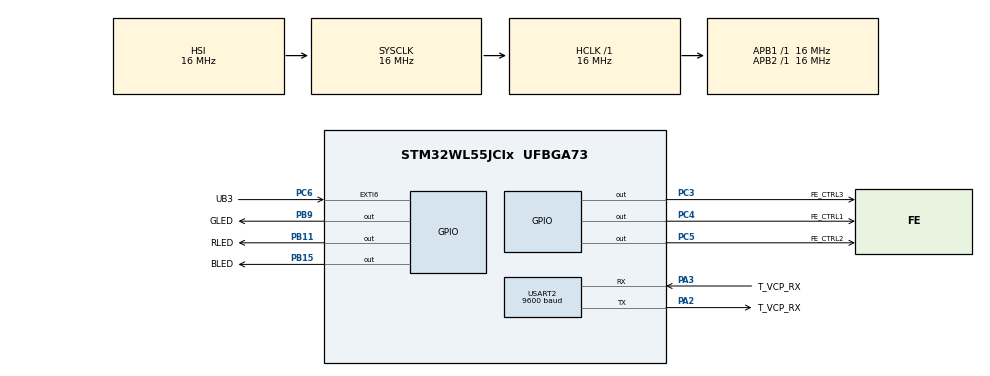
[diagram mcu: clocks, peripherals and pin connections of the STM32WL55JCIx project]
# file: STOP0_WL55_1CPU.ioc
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Mcu.Family=STM32WL
Mcu.Name=STM32WL55JCIx
Mcu.Package=UFBGA73
NVIC.PriorityGroup=NVIC_PRIORITYGROUP_4
PA2.GPIO_Label=T_VCP_RX
PA2.Mode=Asynchronous
PA2.Signal=USART2_TX
PA3.GPIO_Label=T_VCP_RX
PA3.Mode=Asynchronous
PA3.Signal=USART2_RX
PB11.GPIO_Label=RLED
PB11.Signal=GPIO_Output
PB15.GPIO_Label=BLED
PB15.Signal=GPIO_Output
PB9.GPIO_Label=GLED
PB9.Signal=GPIO_Output
PC14-OSC32_IN.GPIO_Label=RCC_OSC32_IN
PC14-OSC32_IN.Signal=RCC_OSC32_IN
PC15-OSC32_OUT.GPIO_Label=RCC_OSC32_OUT
PC15-OSC32_OUT.Signal=RCC_OSC32_OUT
PC3.GPIO_Label=FE_CTRL3
PC3.GPIO_Speed=GPIO_SPEED_FREQ_VERY_HIGH
PC3.Signal=GPIO_Output
PC4.GPIO_Label=FE_CTRL1
PC4.GPIO_Speed=GPIO_SPEED_FREQ_VERY_HIGH
PC4.Signal=GPIO_Output
PC5.GPIO_Label=FE_CTRL2
PC5.GPIO_Speed=GPIO_SPEED_FREQ_VERY_HIGH
PC5.Signal=GPIO_Output
PC6.GPIO_Label=UB3
PC6.GPIO_ModeDefaultEXTI=GPIO_MODE_EVT_FALLING
PC6.GPIO_PuPd=GPIO_PULLUP
PC6.Signal=GPXTI6
ProjectManager.HeapSize=0x200
ProjectManager.StackSize=0x400
ProjectManager.TargetToolchain=STM32CubeIDE
RCC.AHBFreq_Value=16000000
RCC.APB1Freq_Value=16000000
RCC.APB1TimFreq_Value=16000000
RCC.APB2Freq_Value=16000000
RCC.APB2TimFreq_Value=16000000
RCC.APB3Freq_Value=16000000
RCC.CortexFreq_Value=16000000
RCC.HCLKFreq_Value=16000000
RCC.HSE_VALUE=32000000
RCC.HSI_VALUE=16000000
RCC.LSE_VALUE=32768
RCC.PLLN=24
RCC.SYSCLKFreq_VALUE=16000000
RCC.SYSCLKSource=RCC_SYSCLKSOURCE_HSI
RCC.VCOOutputFreq_Value=96000000
USART2.BaudRate=9600
USART2.VirtualMode-Asynchronous=VM_ASYNC
board=NUCLEO-WL55JC1

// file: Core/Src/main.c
/* USER CODE BEGIN Header */
/**
  ******************************************************************************
  * @file           : main.c
  * @brief          : Main program body
  ******************************************************************************
  * @attention
  *
  * Copyright (c) 2025 STMicroelectronics.
  * All rights reserved.
  *
  * This software is licensed under terms that can be found in the LICENSE file
  * in the root directory of this software component.
  * If no LICENSE file comes with this software, it is provided AS-IS.
  *
  ******************************************************************************
  */
/* USER CODE END Header */
#include "main.h"

/* USER CODE BEGIN Includes */
#include <stdio.h>
/* USER CODE END Includes */

UART_HandleTypeDef huart2;

void SystemClock_Config(void);
static void MX_GPIO_Init(void);
static void MX_USART2_UART_Init(void);

/* USER CODE BEGIN 0 */
/** @brief Redirect the output of printf to USART2
  * @retval int
  */
int __io_putchar(int ch){
	HAL_UART_Transmit(&huart2, &ch, 1, 1000);
}

/** @brief Simple software delay (blocking)
  * @param ms: approximate milliseconds to delay (not precise, depends on CPU speed)
  * @retval None
  */
void delay(uint32_t ms)
{
  uint32_t freq = HAL_RCC_GetHCLKFreq();
  uint32_t count = (freq / 4000) * ms; // 4 cycles per loop (approx.)
  while(count--) {
      __NOP();
  }
}

/** @brief Makes the CPU go into STOP0 mode,
  * according to the datasheet guidance.
  * We are waiting on Event
  * @retval None
  */
void Enter_STOP0Mode_OnWFE(void){

    /* All EXTI line pending bits (in EXTI pending register
	 * (EXTI_PR1), and EXTI pending register (EXTI_PR2)),
	 * and the peripheral flags generating wake-up interrupts must be cleared.
	 * Otherwise, the Stop 0 mode entry procedure is ignored and program execution continues.
	 * These bits are cleared when writing '1' to them.
	 */
	// EXTI_PR1 - 19 bits: 22, 21, 16 to 0.
	EXTI -> PR1 |= (3 << 21); // bits 22 & 21
	EXTI -> PR1 |= (1 << 16); // bit 16
	EXTI -> PR1 |= (0xFFFF << 0); // bits 15 to 0
	// EXTI_PR2 - 4 bits: 13, 9, 8, 2.
	EXTI -> PR2 |= (1 << 13); // bit 13
	EXTI -> PR2 |= (3 << 8); // bits 9 & 8
	EXTI -> PR2 |= (1 << 2); // bit 2

	// Wait a bit before entering STOP0 mode
	HAL_Delay(1000);

	// Suspend the tick to prevent the SysTick interrupt every 1 ms
	HAL_SuspendTick();

	// Enter the STOP0 mode, waiting for an event
	HAL_PWREx_EnterSTOP0Mode(PWR_SLEEPENTRY_WFE);
	/* ####----####----####----####
	 * MCU is asleep in STOP0 mode
	 * ####----####----####----####
	 */
}

/** @brief Executes a user-defined sub-routine after the CPU
  * wakes up from STOP0 mode on an event.
  * Some peripherals are (re)initialized, we display text through
  * USART2 and the three LEDs blink.
  * @retval None
  */
void Exit_STOP0Mode_OnWFE(void){
	// At wake-up, resume the SysTick
	HAL_ResumeTick(); // at wake up, we resume the SysTick

	// (Re)Initialize the peripherals
	HAL_Init(); 			// all peripherals, Flash interface and SysTick
	MX_GPIO_Init();			// GPIO
	MX_USART2_UART_Init(); 	// USART2

	printf("Réveil par pression du Bouton 3 et son évènement en attente.\r\n");
	printf("Séquence de clignotement de LED lancée.\r\n");

	// Toggle the red, green and blue LEDs one by one, twice
	for (int _ = 0; _ < 2; _++){
		for (int l = 0; l < 2; l++){
			HAL_GPIO_TogglePin(GPIOB, RLED_Pin);
			delay(100);
		}
		for (int l = 0; l < 2; l++){
			HAL_GPIO_TogglePin(GPIOB, GLED_Pin);
			delay(100);
		}
		for (int l = 0; l < 2; l++){
			HAL_GPIO_TogglePin(GPIOB, BLED_Pin);
			delay(100);
		}
	}
}

/* USER CODE END 0 */

int main(void)
{

  /* MCU Configuration--------------------------------------------------------*/

  /* Reset of all peripherals, Initializes the Flash interface and the Systick. */
  HAL_Init();

  /* Configure the system clock */
  SystemClock_Config();

  /* Initialize all configured peripherals */
  MX_GPIO_Init();
  MX_USART2_UART_Init();

  /* Infinite loop */
  /* USER CODE BEGIN WHILE */
	  printf("\r\n\r\nTest d'une appli mode veille profonde sur STM32\r\n");
  while (1)
  {
	  printf("Exécution de la boucle While\r\n");
	  printf("Le µCU entre en mode STOP0 via WFE - type event\r\n\r\n");

	  // Clock-gating the USART2 peripheral
	  __HAL_RCC_USART2_CLK_SLEEP_DISABLE();

	  Enter_STOP0Mode_OnWFE();
	  /* ####----####----####----####
	   * MCU is asleep in STOP0 mode
	   * ####----####----####----####
	   */

	  Exit_STOP0Mode_OnWFE();
    /* USER CODE END WHILE */

  }
}

void SystemClock_Config(void)
{
  RCC_OscInitTypeDef RCC_OscInitStruct = {0};
  RCC_ClkInitTypeDef RCC_ClkInitStruct = {0};

  /** Configure the main internal regulator output voltage
  */
  __HAL_PWR_VOLTAGESCALING_CONFIG(PWR_REGULATOR_VOLTAGE_SCALE2);

  /** Initializes the CPU, AHB and APB buses clocks
  */
  RCC_OscInitStruct.OscillatorType = RCC_OSCILLATORTYPE_HSI;
  RCC_OscInitStruct.HSIState = RCC_HSI_ON;
  RCC_OscInitStruct.HSICalibrationValue = RCC_HSICALIBRATION_DEFAULT;
  RCC_OscInitStruct.PLL.PLLState = RCC_PLL_NONE;
  if (HAL_RCC_OscConfig(&RCC_OscInitStruct) != HAL_OK)
  {
    Error_Handler();
  }

  /** Configure the SYSCLKSource, HCLK, PCLK1 and PCLK2 clocks dividers
  */
  RCC_ClkInitStruct.ClockType = RCC_CLOCKTYPE_HCLK3|RCC_CLOCKTYPE_HCLK
                              |RCC_CLOCKTYPE_SYSCLK|RCC_CLOCKTYPE_PCLK1
                              |RCC_CLOCKTYPE_PCLK2;
  RCC_ClkInitStruct.SYSCLKSource = RCC_SYSCLKSOURCE_HSI;
  RCC_ClkInitStruct.AHBCLKDivider = RCC_SYSCLK_DIV1;
  RCC_ClkInitStruct.APB1CLKDivider = RCC_HCLK_DIV1;
  RCC_ClkInitStruct.APB2CLKDivider = RCC_HCLK_DIV1;
  RCC_ClkInitStruct.AHBCLK3Divider = RCC_SYSCLK_DIV1;

  if (HAL_RCC_ClockConfig(&RCC_ClkInitStruct, FLASH_LATENCY_0) != HAL_OK)
  {
    Error_Handler();
  }
}

static void MX_USART2_UART_Init(void)
{

  huart2.Instance = USART2;
  huart2.Init.BaudRate = 9600;
  huart2.Init.WordLength = UART_WORDLENGTH_8B;
  huart2.Init.StopBits = UART_STOPBITS_1;
  huart2.Init.Parity = UART_PARITY_NONE;
  huart2.Init.Mode = UART_MODE_TX_RX;
  huart2.Init.HwFlowCtl = UART_HWCONTROL_NONE;
  huart2.Init.OverSampling = UART_OVERSAMPLING_16;
  huart2.Init.OneBitSampling = UART_ONE_BIT_SAMPLE_DISABLE;
  huart2.Init.ClockPrescaler = UART_PRESCALER_DIV1;
  huart2.AdvancedInit.AdvFeatureInit = UART_ADVFEATURE_NO_INIT;
  if (HAL_UART_Init(&huart2) != HAL_OK)
  {
    Error_Handler();
  }
  if (HAL_UARTEx_SetTxFifoThreshold(&huart2, UART_TXFIFO_THRESHOLD_1_8) != HAL_OK)
  {
    Error_Handler();
  }
  if (HAL_UARTEx_SetRxFifoThreshold(&huart2, UART_RXFIFO_THRESHOLD_1_8) != HAL_OK)
  {
    Error_Handler();
  }
  if (HAL_UARTEx_DisableFifoMode(&huart2) != HAL_OK)
  {
    Error_Handler();
  }

}

static void MX_GPIO_Init(void)
{
  GPIO_InitTypeDef GPIO_InitStruct = {0};

  /* GPIO Ports Clock Enable */
  __HAL_RCC_GPIOB_CLK_ENABLE();
  __HAL_RCC_GPIOC_CLK_ENABLE();
  __HAL_RCC_GPIOA_CLK_ENABLE();

  /*Configure GPIO pin Output Level */
  HAL_GPIO_WritePin(GPIOB, BLED_Pin|GLED_Pin|RLED_Pin, GPIO_PIN_RESET);

  /*Configure GPIO pin Output Level */
  HAL_GPIO_WritePin(GPIOC, FE_CTRL3_Pin|FE_CTRL2_Pin|FE_CTRL1_Pin, GPIO_PIN_RESET);

  /*Configure GPIO pins : BLED_Pin GLED_Pin RLED_Pin */
  GPIO_InitStruct.Pin = BLED_Pin|GLED_Pin|RLED_Pin;
  GPIO_InitStruct.Mode = GPIO_MODE_OUTPUT_PP;
  GPIO_InitStruct.Pull = GPIO_NOPULL;
  GPIO_InitStruct.Speed = GPIO_SPEED_FREQ_LOW;
  HAL_GPIO_Init(GPIOB, &GPIO_InitStruct);

  /*Configure GPIO pins : FE_CTRL3_Pin FE_CTRL2_Pin FE_CTRL1_Pin */
  GPIO_InitStruct.Pin = FE_CTRL3_Pin|FE_CTRL2_Pin|FE_CTRL1_Pin;
  GPIO_InitStruct.Mode = GPIO_MODE_OUTPUT_PP;
  GPIO_InitStruct.Pull = GPIO_NOPULL;
  GPIO_InitStruct.Speed = GPIO_SPEED_FREQ_VERY_HIGH;
  HAL_GPIO_Init(GPIOC, &GPIO_InitStruct);

  /*Configure GPIO pin : UB3_Pin */
  GPIO_InitStruct.Pin = UB3_Pin;
  GPIO_InitStruct.Mode = GPIO_MODE_EVT_FALLING;
  GPIO_InitStruct.Pull = GPIO_PULLUP;
  HAL_GPIO_Init(UB3_GPIO_Port, &GPIO_InitStruct);

}

void Error_Handler(void)
{
  __disable_irq();
  while (1)
  {
  }
}
